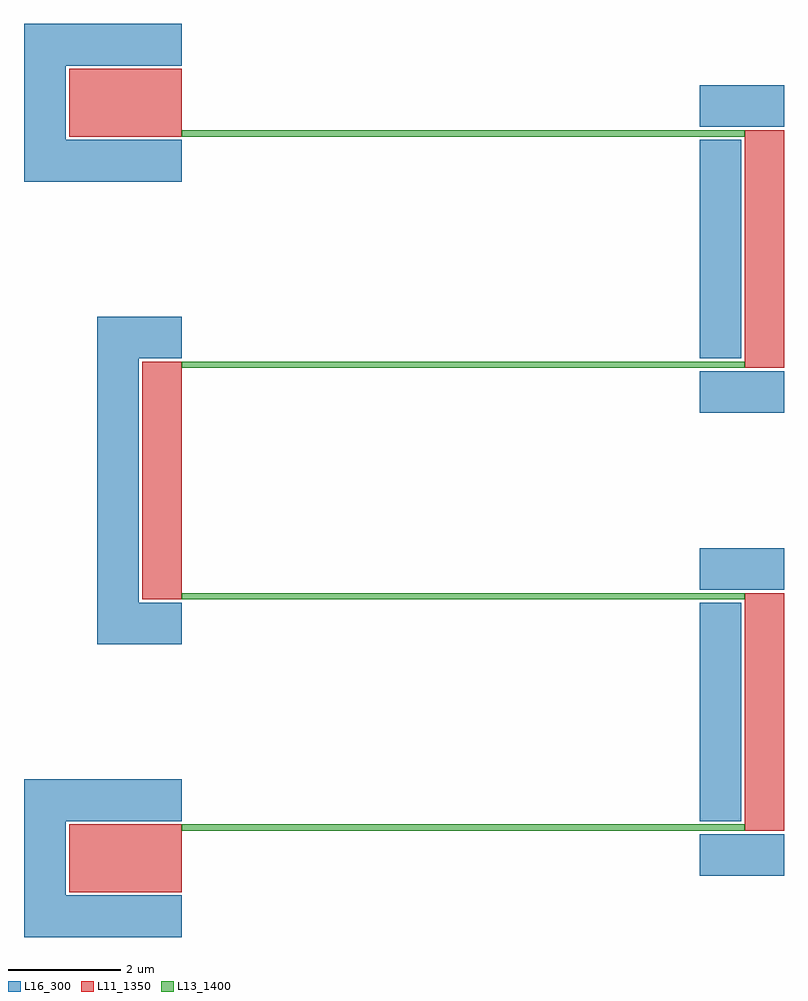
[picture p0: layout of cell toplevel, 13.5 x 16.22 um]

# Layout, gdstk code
import gdstk
lib = gdstk.Library(unit=1e-6, precision=1e-09)
def R(c, l, rs):  # rectangles x0, y0, x1, y1
    for r in rs: c.add(gdstk.rectangle(r[:2], r[2:], *l))
def P(c, l, *ps):  # polygons
    for p in ps: c.add(gdstk.Polygon(p, *l))
L11_1350 = (11, 1350)
L13_1400 = (13, 1400)
L16_300 = (16, 300)

rectangle008 = lib.new_cell('rectangle008')
R(rectangle008, L11_1350, [(0,0,0.7,4.22)])

arm_connector = lib.new_cell('Arm connector')
arm_connector.add(gdstk.Reference(rectangle008, (-0.7,-8.22)))

rectangle010 = lib.new_cell('rectangle010')
R(rectangle010, L11_1350, [(0,0,0.7,4.22)])

arm_connector009 = lib.new_cell('Arm connector009')
arm_connector009.add(gdstk.Reference(rectangle010, (10,-4.11)))

rectangle013 = lib.new_cell('rectangle013')
R(rectangle013, L11_1350, [(0,0,0.7,4.22)])

arm_connector012 = lib.new_cell('Arm connector012')
arm_connector012.add(gdstk.Reference(rectangle013, (10,-12.33)))

arms = lib.new_cell('Arms')
arms.add(gdstk.Reference(arm_connector, (0,0)))
arms.add(gdstk.Reference(arm_connector009, (0,0)))
arms.add(gdstk.Reference(arm_connector012, (0,0)))

rectangle = lib.new_cell('rectangle')
R(rectangle, L13_1400, [(0,0,10,0.11)])

resistive_segment = lib.new_cell('Resistive segment')
resistive_segment.add(gdstk.Reference(rectangle, (0,0)))

rectangle003 = lib.new_cell('rectangle003')
R(rectangle003, L13_1400, [(0,0,10,0.11)])

resistive_segment002 = lib.new_cell('Resistive segment002')
resistive_segment002.add(gdstk.Reference(rectangle003, (0,-4.11)))

rectangle005 = lib.new_cell('rectangle005')
R(rectangle005, L13_1400, [(0,0,10,0.11)])

resistive_segment004 = lib.new_cell('Resistive segment004')
resistive_segment004.add(gdstk.Reference(rectangle005, (0,-8.22)))

rectangle007 = lib.new_cell('rectangle007')
R(rectangle007, L13_1400, [(0,0,10,0.11)])

resistive_segment006 = lib.new_cell('Resistive segment006')
resistive_segment006.add(gdstk.Reference(rectangle007, (0,-12.33)))

resistive_segments = lib.new_cell('Resistive segments')
resistive_segments.add(gdstk.Reference(resistive_segment, (0,0)))
resistive_segments.add(gdstk.Reference(resistive_segment002, (0,0)))
resistive_segments.add(gdstk.Reference(resistive_segment004, (0,0)))
resistive_segments.add(gdstk.Reference(resistive_segment006, (0,0)))

boolean = lib.new_cell('boolean')
P(boolean, L16_300, [(0.7,-0.06),(-0.06,-0.06),(-0.06,4.28),(0.7,4.28),(0.7,5.02),(-0.8,5.02),(-0.8,-0.8),(0.7,-0.8)])

undercut = lib.new_cell('Undercut')
undercut.add(gdstk.Reference(boolean, (-0.7,-8.22)))

boolean011 = lib.new_cell('boolean011')
R(boolean011, L16_300, [(9.2,-4.91,10.7,-4.17), (9.2,-3.94,9.94,-0.06), (9.2,0.17,10.7,0.91)])

boolean014 = lib.new_cell('boolean014')
R(boolean014, L16_300, [(9.2,-13.13,10.7,-12.39), (9.2,-12.16,9.94,-8.28), (9.2,-8.05,10.7,-7.31)])

boolean018 = lib.new_cell('boolean018')
P(boolean018, L16_300, [(0,-0.06),(-2.06,-0.06),(-2.06,1.26),(0,1.26),(0,2),(-2.8,2),(-2.8,-0.8),(0,-0.8)])

undercut017 = lib.new_cell('Undercut017')
undercut017.add(gdstk.Reference(boolean018, (0,0)))

boolean022 = lib.new_cell('boolean022')
P(boolean022, L16_300, [(0,-0.06),(-2.06,-0.06),(-2.06,1.26),(0,1.26),(0,2),(-2.8,2),(-2.8,-0.8),(0,-0.8)])

undercut021 = lib.new_cell('Undercut021')
undercut021.add(gdstk.Reference(boolean022, (0,-13.42)))

undercut015 = lib.new_cell('Undercut015')
undercut015.add(gdstk.Reference(undercut017, (0,0)))
undercut015.add(gdstk.Reference(undercut021, (0,0)))

liftoff_undercut = lib.new_cell('Liftoff undercut')
liftoff_undercut.add(gdstk.Reference(undercut, (0,0)))
liftoff_undercut.add(gdstk.Reference(boolean011, (0,0)))
liftoff_undercut.add(gdstk.Reference(boolean014, (0,0)))
liftoff_undercut.add(gdstk.Reference(undercut015, (0,0)))

rectangle016 = lib.new_cell('rectangle016')
R(rectangle016, L11_1350, [(-2,0,0,1.2)])

connector = lib.new_cell('Connector')
connector.add(gdstk.Reference(rectangle016, (0,0)))

top_connector = lib.new_cell('Top connector')
top_connector.add(gdstk.Reference(connector, (0,0)))

rectangle020 = lib.new_cell('rectangle020')
R(rectangle020, L11_1350, [(-2,0,0,1.2)])

connector019 = lib.new_cell('Connector019')
connector019.add(gdstk.Reference(rectangle020, (0,-13.42)))

bot_connector = lib.new_cell('Bot connector')
bot_connector.add(gdstk.Reference(connector019, (0,0)))

toplevel = lib.new_cell('toplevel')
toplevel.add(gdstk.Reference(arms, (0,0)))
toplevel.add(gdstk.Reference(resistive_segments, (0,0)))
toplevel.add(gdstk.Reference(liftoff_undercut, (0,0)))
toplevel.add(gdstk.Reference(top_connector, (0,0)))
toplevel.add(gdstk.Reference(bot_connector, (0,0)))

lib.write_gds('toplevel.gds')
